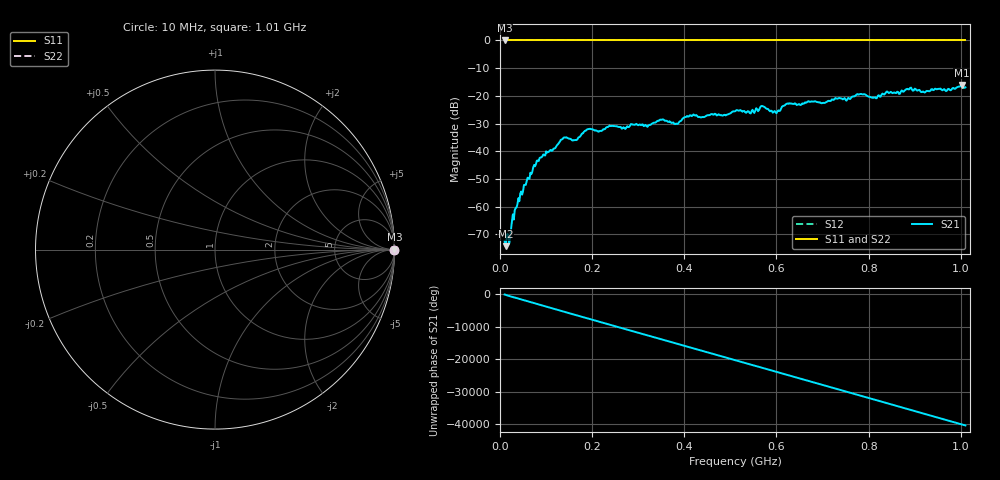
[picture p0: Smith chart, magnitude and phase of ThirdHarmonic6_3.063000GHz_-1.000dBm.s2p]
! 8/17/2025 8:55:58 AM
! C:\ANRITSUVNA\TEMP\TEMP.S2P
! CHANNEL.1
! TR.MEASUREMENT
! RAW.DATA
! RF.CORRECTION.OFF
! AVERAGING.OFF
! IF.BANDWIDTH: 5KHZ
! SWEEPTYPE:  FREQ.SWEEP(Linear)
! Reference Plane Port Info
! PORT:  PORT1  PORT2
! DISTANCE:  0  m  0  m
! TIME:  0  s  0  s
! PHASE.OFFSET:  0  deg.  0  deg.
! LOSS:  0  dB  0  dB
! REF.LOSS:  0  dB  0  dB
! REF.FREQ:  0  Hz  0  Hz
! Power Info
! POWER:  -20  dBm  -20  dBm
! EFF.POWER:  -20  dBm  -20  dBm
! SOURCE.ATTEN:  0  dB  0  dB
! TEST.ATTEN:  0  dB  0  dB
# GHZ S RI R 50.0
! FREQ.GHZ  S11RE  S11IM  S21RE  S21IM  S12RE  S12IM  S22RE  S22IM
!; PortSelection: Port_12
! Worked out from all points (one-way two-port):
!   501 points, 10 MHz to 1.01 GHz, reference 50 ohm
!   highest |S21| = -16.04 dB at 1.002 GHz (marker M1); lowest = -74.3 dB at 12 MHz (marker M2)
!   lowest |S11| = 0.0 dB at 10 MHz (marker M3)
!   |S11| at or under -10 dB: nowhere
!   |S22| runs from 0.0 to 0.0 dB; largest |S21 - S12| = 1.1
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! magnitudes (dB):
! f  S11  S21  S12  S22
! 10 MHz  0.0  -72.4  0.0  0.0
! 12 MHz  0.0  -74.3  0.0  0.0
! 22 MHz  0.0  -71.1  0.0  0.0
! 30 MHz  0.0  -64.7  0.0  0.0
! 42 MHz  0.0  -58.1  0.0  0.0
! 78 MHz  0.0  -44.7  0.0  0.0
! 136 MHz  0.0  -35.6  0.0  0.0
! 162 MHz  0.0  -36.0  0.0  0.0
! 178 MHz  0.0  -33.6  0.0  0.0
! 344 MHz  0.0  -29.1  0.0  0.0
! 382 MHz  0.0  -30.0  0.0  0.0
! 416 MHz  0.0  -27.3  0.0  0.0
! 510 MHz  0.0  -25.6  0.0  0.0
! 570 MHz  0.0  -23.7  0.0  0.0
! 596 MHz  0.0  -25.5  0.0  0.0
! 624 MHz  0.0  -22.8  0.0  0.0
! 678 MHz  0.0  -22.1  0.0  0.0
! 780 MHz  0.0  -19.5  0.0  0.0
! 814 MHz  0.0  -20.6  0.0  0.0
! 844 MHz  0.0  -19.0  0.0  0.0
! 1.002 GHz  0.0  -16.0  0.0  0.0
! 1.01 GHz  0.0  -17.0  0.0  0.0
